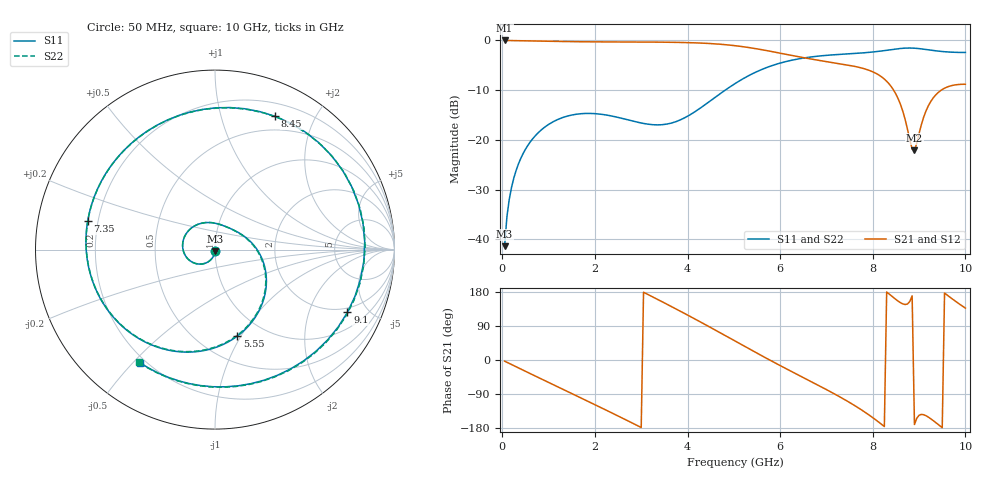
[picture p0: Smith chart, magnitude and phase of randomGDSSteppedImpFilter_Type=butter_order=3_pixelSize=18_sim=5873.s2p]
! freq	dB(S11)	phase(S11)	dB(S12)	phase(S12)
!  dB(S21)	phase(S21)	dB(S22)	phase(S22)
!S-par simulation data
#  GHz  S  DB  R 50
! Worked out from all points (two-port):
!   200 points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, 50 MHz to 10 GHz, reference 50 ohm
!   highest |S21| = -0.01 dB at 50 MHz (marker M1); lowest = -22.1 dB at 8.9 GHz (marker M2)
!   |S21| within 3 dB of the highest: start of sweep to 6.242 GHz
!   lowest |S11| = -41.4 dB at 50 MHz (marker M3), VSWR 1.02, Z = 50 - j0.85 ohm
!   |S11| at or under -10 dB: start of sweep to 4.814 GHz
!   |S22| runs from -41.4 to -1.5 dB; largest |S21 - S12| = 0
!   S11 on the Smith chart (normalised r, x): 50 MHz: 1.00, -0.02; 5.55 GHz: 0.75, -0.96; 7.35 GHz: 0.16, +0.11; 8.45 GHz: 0.34, +1.49; 9.1 GHz: 1.75, -3.67; 10 GHz: 0.18, -0.52
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0.05  -41.40 -92.0  -0.01 -3.0  -0.01 -3.0  -41.40 -92.0
0.2  -29.55 -101.6  -0.03 -12.0  -0.03 -12.0  -29.55 -101.6
0.5  -21.91 -120.2  -0.07 -29.8  -0.07 -29.8  -21.90 -120.2
1.15  -16.12 -158.7  -0.19 -68.1  -0.19 -68.1  -16.11 -158.7
1.75  -14.71 166.1  -0.27 -103.2  -0.27 -103.2  -14.71 166.0
2.65  -15.83 112.6  -0.31 -156.8  -0.31 -156.8  -15.82 112.2
3.4  -16.99 66.5  -0.34 157.0  -0.34 157.0  -16.97 65.6
4.25  -13.78 11.8  -0.52 102.3  -0.52 102.3  -13.77 10.4
4.65  -11.09 -14.8  -0.72 75.6  -0.72 75.6  -11.08 -16.2
5.05  -8.54 -41.9  -1.08 48.5  -1.08 48.5  -8.53 -43.1
5.55  -6.06 -75.6  -1.78 14.7  -1.78 14.7  -6.05 -76.7
6.1  -4.31 -111.5  -2.75 -21.1  -2.75 -21.1  -4.30 -112.6
6.7  -3.29 -149.6  -3.79 -59.0  -3.79 -59.0  -3.28 -150.8
7.35  -2.77 167.4  -4.78 -101.5  -4.78 -101.5  -2.76 166.0
7.85  -2.46 128.6  -5.79 -139.3  -5.79 -139.3  -2.45 126.9
8.35  -1.92 78.1  -8.72 174.5  -8.72 174.5  -1.91 76.0
8.45  -1.78 65.8  -10.00 164.5  -10.00 164.5  -1.77 63.8
8.7  -1.55 32.0  -15.94 146.5  -15.94 146.5  -1.53 29.9
8.9  -1.56 3.1  -22.11 -170.1  -22.11 -170.1  -1.55 1.1
9.1  -1.76 -25.3  -15.41 -144.4  -15.41 -144.4  -1.74 -27.1
9.5  -2.23 -75.0  -9.88 -178.6  -9.88 -178.6  -2.21 -76.2
10  -2.42 -123.5  -8.81 136.8  -8.81 136.8  -2.41 -124.1
